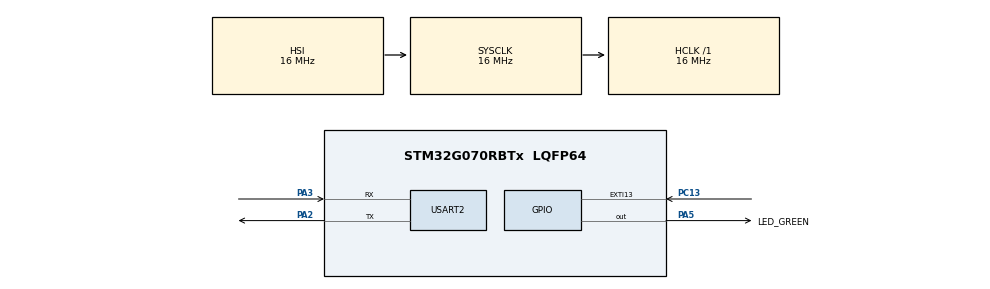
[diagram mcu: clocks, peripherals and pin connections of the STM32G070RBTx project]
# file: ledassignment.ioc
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Mcu.Family=STM32G0
Mcu.Name=STM32G070RBTx
Mcu.Package=LQFP64
NVIC.EXTI4_15_IRQn=true\:0\:0\:false\:false\:true\:true\:true\:true
NVIC.TIM6_IRQn=true\:0\:0\:false\:false\:true\:true\:true\:true
PA13.GPIO_Label=TMS
PA13.Mode=Serial_Wire
PA13.Signal=SYS_SWDIO
PA14-BOOT0.GPIO_Label=TCK
PA14-BOOT0.Mode=Serial_Wire
PA14-BOOT0.Signal=SYS_SWCLK
PA2.GPIO_PuPd=GPIO_PULLUP
PA2.Mode=Asynchronous
PA2.Signal=USART2_TX
PA3.GPIO_PuPd=GPIO_PULLUP
PA3.Mode=Asynchronous
PA3.Signal=USART2_RX
PA5.GPIO_Label=LED_GREEN
PA5.GPIO_Speed=GPIO_SPEED_FREQ_HIGH
PA5.Signal=GPIO_Output
PC13.Signal=GPXTI13
PC14-OSC32_IN\ (PC14).Mode=LSE-External-Oscillator
PC14-OSC32_IN\ (PC14).Signal=RCC_OSC32_IN
PC15-OSC32_OUT\ (PC15).Mode=LSE-External-Oscillator
PC15-OSC32_OUT\ (PC15).Signal=RCC_OSC32_OUT
PF0-OSC_IN\ (PF0).GPIO_Label=MCO
PF0-OSC_IN\ (PF0).Mode=HSE-External-Clock-Source
PF0-OSC_IN\ (PF0).Signal=RCC_OSC_IN
ProjectManager.HeapSize=0x200
ProjectManager.StackSize=0x400
ProjectManager.TargetToolchain=STM32CubeIDE
RCC.AHBFreq_Value=16000000
RCC.CortexFreq_Value=16000000
RCC.EXTERNAL_CLOCK_VALUE=12288000
RCC.HCLKFreq_Value=16000000
RCC.HSE_VALUE=8000000
RCC.HSI_VALUE=16000000
RCC.SYSCLKFreq_VALUE=16000000
RCC.VCOOutputFreq_Value=128000000
TIM6.Prescaler=15999
USART2.VirtualMode-Asynchronous=VM_ASYNC
USART2.WordLength=WORDLENGTH_7B
VP_TIM6_VS_ClockSourceINT.Mode=Enable_Timer
board=NUCLEO-G070RB

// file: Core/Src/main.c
/* USER CODE BEGIN Header */
/**
  ******************************************************************************
  * @file           : main.c
  * @brief          : Main program body for Nosh Assignment Q-1
  * @author         : Shreesh Purandarvittal Tadas
  ******************************************************************************
  * @attention
  *
  * Copyright (c) 2026 STMicroelectronics.
  * All rights reserved.
  *
  ******************************************************************************
  */
/* USER CODE END Header */
#include "main.h"

TIM_HandleTypeDef htim6;
UART_HandleTypeDef huart2;

/* USER CODE BEGIN PV */
volatile uint8_t switch_press_count = 0;
static uint32_t last_press_tick = 0;   // Tracks last valid press time for non-blocking debounce
/* USER CODE END PV */

void SystemClock_Config(void);
static void MX_GPIO_Init(void);
static void MX_TIM6_Init(void);
static void MX_USART2_UART_Init(void);

int main(void)
{
  /* MCU Configuration--------------------------------------------------------*/

  /* Reset of all peripherals, Initializes the Flash interface and the Systick. */
  HAL_Init();

  /* Configure the system clock */
  SystemClock_Config();

  /* Initialize all configured peripherals */
  MX_GPIO_Init();
  MX_TIM6_Init();
  MX_USART2_UART_Init();

  /* USER CODE BEGIN 2 */
  // Ensure the LED is in the default OFF state initially, as per requirements
  HAL_GPIO_WritePin(GPIOA, GPIO_PIN_5, GPIO_PIN_RESET);
  /* USER CODE END 2 */

  /* Infinite loop */
  while (1)
  {

    /* USER CODE BEGIN 3 */

    // POWER OPTIMIZATION STRATEGY:
    // Suspend the system tick so the SysTick interrupt doesn't wake the MCU up every 1ms.
    HAL_SuspendTick();

    // Enter Sleep Mode. The ARM Cortex core clock stops, but peripherals (EXTI, TIM6) stay alive.
    // The MCU will rest here with extremely low power consumption until a Button or Timer interrupt fires.
    HAL_PWR_EnterSLEEPMode(PWR_MAINREGULATOR_ON, PWR_SLEEPENTRY_WFI);

    // When an interrupt finishes processing, the MCU wakes up and execution resumes here.
    HAL_ResumeTick();

  }
  /* USER CODE END 3 */
}

void SystemClock_Config(void)
{
  RCC_OscInitTypeDef RCC_OscInitStruct = {0};
  RCC_ClkInitTypeDef RCC_ClkInitStruct = {0};

  HAL_PWREx_ControlVoltageScaling(PWR_REGULATOR_VOLTAGE_SCALE1);

  RCC_OscInitStruct.OscillatorType = RCC_OSCILLATORTYPE_HSI;
  RCC_OscInitStruct.HSIState = RCC_HSI_ON;
  RCC_OscInitStruct.HSIDiv = RCC_HSI_DIV1;
  RCC_OscInitStruct.HSICalibrationValue = RCC_HSICALIBRATION_DEFAULT;
  RCC_OscInitStruct.PLL.PLLState = RCC_PLL_NONE;
  if (HAL_RCC_OscConfig(&RCC_OscInitStruct) != HAL_OK)
  {
    Error_Handler();
  }

  RCC_ClkInitStruct.ClockType = RCC_CLOCKTYPE_HCLK|RCC_CLOCKTYPE_SYSCLK
                              |RCC_CLOCKTYPE_PCLK1;
  RCC_ClkInitStruct.SYSCLKSource = RCC_SYSCLKSOURCE_HSI;
  RCC_ClkInitStruct.AHBCLKDivider = RCC_SYSCLK_DIV1;
  RCC_ClkInitStruct.APB1CLKDivider = RCC_HCLK_DIV1;

  if (HAL_RCC_ClockConfig(&RCC_ClkInitStruct, FLASH_LATENCY_0) != HAL_OK)
  {
    Error_Handler();
  }
}

static void MX_TIM6_Init(void)
{
  TIM_MasterConfigTypeDef sMasterConfig = {0};

  htim6.Instance = TIM6;
  htim6.Init.Prescaler = 0;
  htim6.Init.CounterMode = TIM_COUNTERMODE_UP;
  htim6.Init.Period = 65535;
  htim6.Init.AutoReloadPreload = TIM_AUTORELOAD_PRELOAD_DISABLE;
  if (HAL_TIM_Base_Init(&htim6) != HAL_OK)
  {
    Error_Handler();
  }
  sMasterConfig.MasterOutputTrigger = TIM_TRGO_RESET;
  sMasterConfig.MasterSlaveMode = TIM_MASTERSLAVEMODE_DISABLE;
  if (HAL_TIMEx_MasterConfigSynchronization(&htim6, &sMasterConfig) != HAL_OK)
  {
    Error_Handler();
  }
}

static void MX_USART2_UART_Init(void)
{
  huart2.Instance = USART2;
  huart2.Init.BaudRate = 115200;
  huart2.Init.WordLength = UART_WORDLENGTH_7B;
  huart2.Init.StopBits = UART_STOPBITS_1;
  huart2.Init.Parity = UART_PARITY_NONE;
  huart2.Init.Mode = UART_MODE_TX_RX;
  huart2.Init.HwFlowCtl = UART_HWCONTROL_NONE;
  huart2.Init.OverSampling = UART_OVERSAMPLING_16;
  huart2.Init.OneBitSampling = UART_ONE_BIT_SAMPLE_DISABLE;
  huart2.Init.ClockPrescaler = UART_PRESCALER_DIV1;
  huart2.AdvancedInit.AdvFeatureInit = UART_ADVFEATURE_NO_INIT;
  if (HAL_UART_Init(&huart2) != HAL_OK)
  {
    Error_Handler();
  }
}

static void MX_GPIO_Init(void)
{
  GPIO_InitTypeDef GPIO_InitStruct = {0};

  /* GPIO Ports Clock Enable */
  __HAL_RCC_GPIOC_CLK_ENABLE();
  __HAL_RCC_GPIOF_CLK_ENABLE();
  __HAL_RCC_GPIOA_CLK_ENABLE();

  /*Configure GPIO pin Output Level */
  HAL_GPIO_WritePin(GPIOA, GPIO_PIN_5, GPIO_PIN_RESET);

  /*Configure GPIO pin : PC13 (User Button) */
  GPIO_InitStruct.Pin = GPIO_PIN_13;
  GPIO_InitStruct.Mode = GPIO_MODE_IT_FALLING; // Interrupt triggers on falling edge (press)
  GPIO_InitStruct.Pull = GPIO_NOPULL;
  HAL_GPIO_Init(GPIOC, &GPIO_InitStruct);

  /*Configure GPIO pin : PA5 (User LED) */
  GPIO_InitStruct.Pin = GPIO_PIN_5;
  GPIO_InitStruct.Mode = GPIO_MODE_OUTPUT_PP;
  GPIO_InitStruct.Pull = GPIO_NOPULL;
  GPIO_InitStruct.Speed = GPIO_SPEED_FREQ_HIGH;
  HAL_GPIO_Init(GPIOA, &GPIO_InitStruct);

  /* EXTI interrupt init*/
  HAL_NVIC_SetPriority(EXTI4_15_IRQn, 0, 0);
  HAL_NVIC_EnableIRQ(EXTI4_15_IRQn);
}

/* USER CODE BEGIN 4 */

// ----------------------------------------------------------------------------
// 1. HARDWARE INTERRUPT: FIRES WHEN THE TACTILE SWITCH (PC13) IS PRESSED
// ----------------------------------------------------------------------------
void HAL_GPIO_EXTI_Falling_Callback(uint16_t GPIO_Pin)
{
    if (GPIO_Pin == GPIO_PIN_13)
    {
        // CRITICAL: We suspended the tick in the main loop before going to sleep.
        // We MUST resume it here so HAL_GetTick() can provide an accurate timestamp for debouncing.
        HAL_ResumeTick();

        uint32_t now = HAL_GetTick();

        // Non-blocking debounce: ignore rapid mechanical bounces within 50ms of the last valid press.
        if ((now - last_press_tick) < 50)
        {
            return;
        }
        last_press_tick = now;

        // Verify button is actually pressed. The NUCLEO user button is active-low (pulled to ground).
        if (HAL_GPIO_ReadPin(GPIOC, GPIO_PIN_13) == GPIO_PIN_RESET)
        {
            switch_press_count++;

            // 5th press acts as the 1st press
            if (switch_press_count > 4) {
                switch_press_count = 1;
            }

            // State Machine for LED Frequencies
            // Assuming TIM6 is configured to tick exactly every 1ms
            switch (switch_press_count)
            {
                case 1: // 1st Press: 0.5 Hz -> Toggle every 1000ms
                    __HAL_TIM_SET_AUTORELOAD(&htim6, 1000 - 1);
                    __HAL_TIM_SET_COUNTER(&htim6, 0);   // Reset counter to prevent overflow delays on freq change
                    HAL_TIM_Base_Start_IT(&htim6);
                    break;

                case 2: // 2nd Press: 1.0 Hz -> Toggle every 500ms
                    __HAL_TIM_SET_AUTORELOAD(&htim6, 500 - 1);
                    __HAL_TIM_SET_COUNTER(&htim6, 0);
                    HAL_TIM_Base_Start_IT(&htim6);
                    break;

                case 3: // 3rd Press: 2.0 Hz -> Toggle every 250ms
                    __HAL_TIM_SET_AUTORELOAD(&htim6, 250 - 1);
                    __HAL_TIM_SET_COUNTER(&htim6, 0);
                    HAL_TIM_Base_Start_IT(&htim6);
                    break;

                case 4: // 4th Press: OFF
                    HAL_TIM_Base_Stop_IT(&htim6);
                    HAL_GPIO_WritePin(GPIOA, GPIO_PIN_5, GPIO_PIN_RESET); // Explicitly turn LED off
                    break;
            }
        }
    }
}

// ----------------------------------------------------------------------------
// 2. HARDWARE INTERRUPT: FIRES WHEN THE TIMER (TIM6) FINISHES COUNTING
// ----------------------------------------------------------------------------
void HAL_TIM_PeriodElapsedCallback(TIM_HandleTypeDef *htim)
{
    if (htim->Instance == TIM6)
    {
        HAL_GPIO_TogglePin(GPIOA, GPIO_PIN_5); // Toggle the Green LED state
    }
}

/* USER CODE END 4 */

void Error_Handler(void)
{
  __disable_irq();
  while (1)
  {
  }
}
